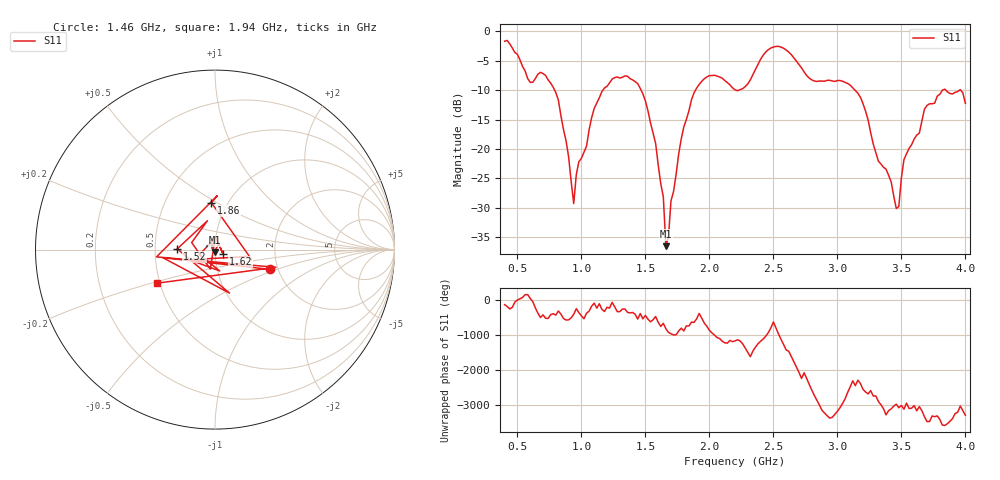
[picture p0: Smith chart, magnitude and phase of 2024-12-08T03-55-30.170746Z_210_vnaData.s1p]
!Created with skrf (http://scikit-rf.org).
# Hz S RI R 50.0
!freq ReS11 ImS11
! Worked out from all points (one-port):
!   181 points, 400 MHz to 4 GHz, reference 50 ohm
!   lowest |S11| = -36.5 dB at 1.66 GHz (marker M1), VSWR 1.03, Z = 49.8 - j1.48 ohm
!   |S11| at or under -10 dB: 790.5 MHz to 1.168 GHz (377.9 MHz wide, 38.6 % of centre); 1.466 GHz to 1.892 GHz (425.6 MHz wide, 25.3 % of centre); 3.137 GHz to 3.822 GHz (685.2 MHz wide, 19.7 % of centre) (the widest 3 of 6)
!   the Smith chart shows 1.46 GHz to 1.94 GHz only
!   S11 on the Smith chart (normalised r, x): 1.46 GHz: 1.82, -0.45; 1.52 GHz: 0.65, +0.01; 1.62 GHz: 1.09, -0.05; 1.86 GHz: 0.84, +0.47; 1.94 GHz: 0.48, -0.21
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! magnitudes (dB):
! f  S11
! 400 MHz  -1.7
! 600 MHz  -8.7
! 720 MHz  -7.5
! 820 MHz  -11.7
! 860 MHz  -16.7
! 940 MHz  -29.3
! 980 MHz  -22.2
! 1.1 GHz  -13.1
! 1.3 GHz  -8.0
! 1.46 GHz  -9.7
! 1.52 GHz  -13.5
! 1.62 GHz  -25.9
! 1.64 GHz  -28.1
! 1.66 GHz  -36.5
! 1.76 GHz  -20.9
! 1.86 GHz  -11.7
! 1.94 GHz  -8.5
! 2.2 GHz  -10.0
! 2.48 GHz  -2.8
! 2.66 GHz  -4.5
! 2.8 GHz  -8.3
! 3.1 GHz  -9.2
! 3.2 GHz  -12.3
! 3.46 GHz  -30.1
! 3.52 GHz  -21.8
! 3.56 GHz  -19.9
! 3.82 GHz  -10.0
! 4 GHz  -12.3
